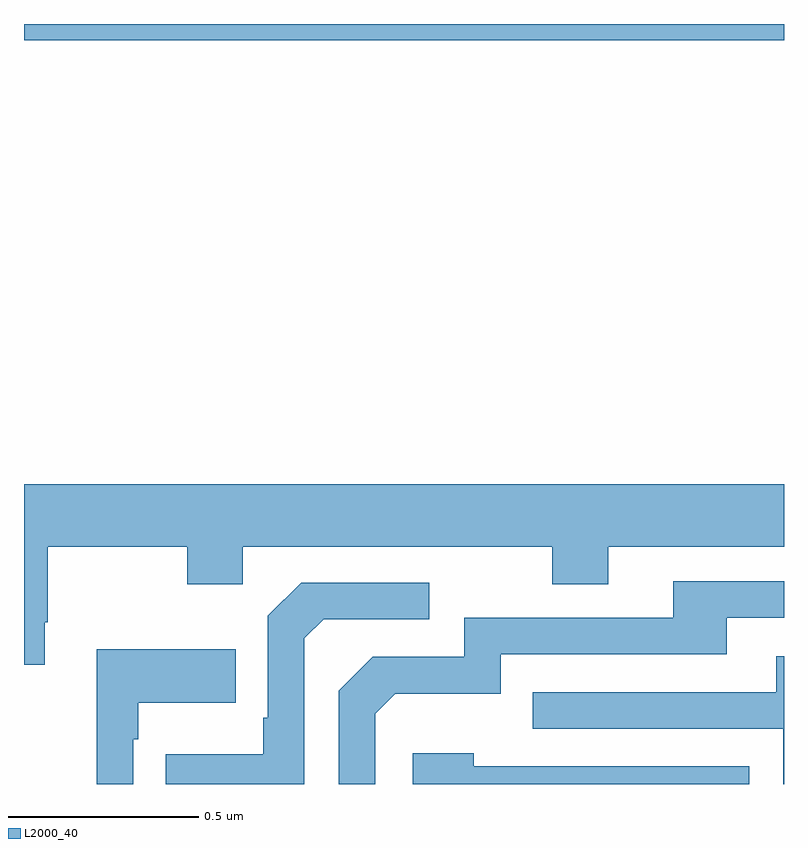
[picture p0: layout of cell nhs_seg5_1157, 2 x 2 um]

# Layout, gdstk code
import gdstk
lib = gdstk.Library(unit=1e-6, precision=1e-09)
def R(c, l, rs):  # rectangles x0, y0, x1, y1
    for r in rs: c.add(gdstk.rectangle(r[:2], r[2:], *l))
def P(c, l, *ps):  # polygons
    for p in ps: c.add(gdstk.Polygon(p, *l))
L2000_40 = (2000, 40)

nhs_seg5_1157 = lib.new_cell('nhs_seg5_1157')
R(nhs_seg5_1157, L2000_40, [(126,860.756,128,860.799)])
P(nhs_seg5_1157, L2000_40, [(126,859.113),(126.055,859.113),(126.055,859.225),(126.063,859.225),(126.063,859.424),(126.43,859.424),(126.43,859.325),(126.576,859.325),(126.576,859.424),(127.39,859.424),(127.39,859.325),(127.537,859.325),(127.537,859.424),(128,859.424),(128,859.588),(126,859.588)],
  [(126.924,858.984),(126.977,859.037),(127.254,859.037),(127.254,859.14),(127.849,859.14),(127.849,859.236),(128,859.236),(128,859.332),(127.709,859.332),(127.709,859.236),(127.158,859.236),(127.158,859.134),(126.918,859.134),(126.828,859.044),(126.828,858.799),(126.924,858.799)],
  [(126.738,859.182),(126.789,859.233),(127.066,859.233),(127.066,859.329),(126.729,859.329),(126.642,859.242),(126.642,858.973),(126.63,858.973),(126.63,858.877),(126.373,858.877),(126.373,858.799),(126.738,858.799)],
  [(126.288,858.917),(126.301,858.917),(126.301,859.013),(126.557,859.013),(126.557,859.153),(126.191,859.153),(126.191,858.799),(126.288,858.799)],
  [(128,859.135),(127.979,859.135),(127.979,859.041),(127.339,859.041),(127.339,858.945),(127.998,858.945),(127.998,858.799),(128,858.799)],
  [(127.908,858.846),(127.184,858.846),(127.184,858.88),(127.023,858.88),(127.023,858.799),(127.908,858.799)])

lib.write_gds('nhs_seg5_1157.gds')
